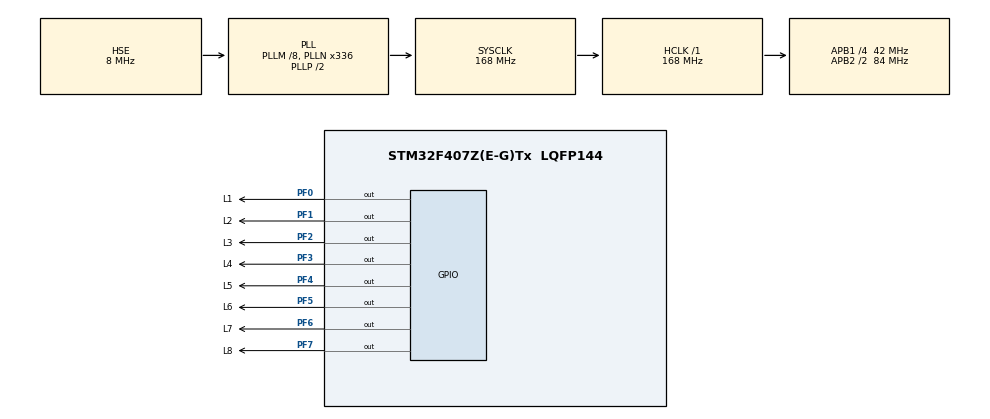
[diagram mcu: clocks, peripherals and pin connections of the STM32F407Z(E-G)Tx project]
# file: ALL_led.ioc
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Mcu.Family=STM32F4
Mcu.Name=STM32F407Z(E-G)Tx
Mcu.Package=LQFP144
NVIC.PriorityGroup=NVIC_PRIORITYGROUP_4
PA13.Mode=Serial_Wire
PA13.Signal=SYS_JTMS-SWDIO
PA14.Mode=Serial_Wire
PA14.Signal=SYS_JTCK-SWCLK
PF0.GPIO_Label=L1
PF0.Signal=GPIO_Output
PF1.GPIO_Label=L2
PF1.Signal=GPIO_Output
PF2.GPIO_Label=L3
PF2.Signal=GPIO_Output
PF3.GPIO_Label=L4
PF3.Signal=GPIO_Output
PF4.GPIO_Label=L5
PF4.Signal=GPIO_Output
PF5.GPIO_Label=L6
PF5.Signal=GPIO_Output
PF6.GPIO_Label=L7
PF6.Signal=GPIO_Output
PF7.GPIO_Label=L8
PF7.Signal=GPIO_Output
PH0-OSC_IN.Mode=HSE-External-Oscillator
PH0-OSC_IN.Signal=RCC_OSC_IN
PH1-OSC_OUT.Mode=HSE-External-Oscillator
PH1-OSC_OUT.Signal=RCC_OSC_OUT
ProjectManager.HeapSize=0x200
ProjectManager.StackSize=0x400
ProjectManager.TargetToolchain=STM32CubeIDE
RCC.48MHZClocksFreq_Value=84000000
RCC.AHBFreq_Value=168000000
RCC.APB1CLKDivider=RCC_HCLK_DIV4
RCC.APB1Freq_Value=42000000
RCC.APB1TimFreq_Value=84000000
RCC.APB2CLKDivider=RCC_HCLK_DIV2
RCC.APB2Freq_Value=84000000
RCC.APB2TimFreq_Value=168000000
RCC.CortexFreq_Value=168000000
RCC.HCLKFreq_Value=168000000
RCC.HSE_VALUE=8000000
RCC.HSI_VALUE=16000000
RCC.LSE_VALUE=32768
RCC.PLLM=8
RCC.PLLN=336
RCC.PLLSourceVirtual=RCC_PLLSOURCE_HSE
RCC.SYSCLKFreq_VALUE=168000000
RCC.SYSCLKSource=RCC_SYSCLKSOURCE_PLLCLK
RCC.VCOOutputFreq_Value=336000000
board=custom

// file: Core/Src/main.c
/* USER CODE BEGIN Header */
/**
  ******************************************************************************
  * @file           : main.c
  * @brief          : Main program body
  ******************************************************************************
  * @attention
  *
  * Copyright (c) 2026 STMicroelectronics.
  * All rights reserved.
  *
  * This software is licensed under terms that can be found in the LICENSE file
  * in the root directory of this software component.
  * If no LICENSE file comes with this software, it is provided AS-IS.
  *
  ******************************************************************************
  */
/* USER CODE END Header */
#include "main.h"
#include "gpio.h"

void SystemClock_Config(void);

int main(void)
{

  /* MCU Configuration--------------------------------------------------------*/

  /* Reset of all peripherals, Initializes the Flash interface and the Systick. */
  HAL_Init();

  /* Configure the system clock */
  SystemClock_Config();

  /* Initialize all configured peripherals */
  MX_GPIO_Init();
  /* USER CODE BEGIN 2 */
  /* USER CODE BEGIN 2 */

  /* USER CODE BEGIN 2 */

  /* USER CODE END 2 */

  /* USER CODE END 2 */

  /* USER CODE END 2 */

  /* Infinite loop */
  /* USER CODE BEGIN WHILE */
  while (1)
  {
	  // 先全部熄灭
	    HAL_GPIO_WritePin(L1_GPIO_Port, L1_Pin, GPIO_PIN_SET);
	    HAL_GPIO_WritePin(L2_GPIO_Port, L2_Pin, GPIO_PIN_SET);
	    HAL_GPIO_WritePin(L3_GPIO_Port, L3_Pin, GPIO_PIN_SET);
	    HAL_GPIO_WritePin(L4_GPIO_Port, L4_Pin, GPIO_PIN_SET);
	    HAL_GPIO_WritePin(L5_GPIO_Port, L5_Pin, GPIO_PIN_SET);
	    HAL_GPIO_WritePin(L6_GPIO_Port, L6_Pin, GPIO_PIN_SET);
	    HAL_GPIO_WritePin(L7_GPIO_Port, L7_Pin, GPIO_PIN_SET);
	    HAL_GPIO_WritePin(L8_GPIO_Port, L8_Pin, GPIO_PIN_SET);

	    // 只亮 L1，延时后熄灭
	    HAL_GPIO_WritePin(L1_GPIO_Port, L1_Pin, GPIO_PIN_RESET);
	    HAL_Delay(500);
	    HAL_GPIO_WritePin(L1_GPIO_Port, L1_Pin, GPIO_PIN_SET);

	    // 只亮 L2
	    HAL_GPIO_WritePin(L2_GPIO_Port, L2_Pin, GPIO_PIN_RESET);
	    HAL_Delay(500);
	    HAL_GPIO_WritePin(L2_GPIO_Port, L2_Pin, GPIO_PIN_SET);

	    // 只亮 L3
	    HAL_GPIO_WritePin(L3_GPIO_Port, L3_Pin, GPIO_PIN_RESET);
	    HAL_Delay(500);
	    HAL_GPIO_WritePin(L3_GPIO_Port, L3_Pin, GPIO_PIN_SET);

	    // 只亮 L4
	    HAL_GPIO_WritePin(L4_GPIO_Port, L4_Pin, GPIO_PIN_RESET);
	    HAL_Delay(500);
	    HAL_GPIO_WritePin(L4_GPIO_Port, L4_Pin, GPIO_PIN_SET);

	    // 只亮 L5
	    HAL_GPIO_WritePin(L5_GPIO_Port, L5_Pin, GPIO_PIN_RESET);
	    HAL_Delay(500);
	    HAL_GPIO_WritePin(L5_GPIO_Port, L5_Pin, GPIO_PIN_SET);

	    // 只亮 L6
	    HAL_GPIO_WritePin(L6_GPIO_Port, L6_Pin, GPIO_PIN_RESET);
	    HAL_Delay(500);
	    HAL_GPIO_WritePin(L6_GPIO_Port, L6_Pin, GPIO_PIN_SET);

	    // 只亮 L7
	    HAL_GPIO_WritePin(L7_GPIO_Port, L7_Pin, GPIO_PIN_RESET);
	    HAL_Delay(500);
	    HAL_GPIO_WritePin(L7_GPIO_Port, L7_Pin, GPIO_PIN_SET);

	    // 只亮 L8
	    HAL_GPIO_WritePin(L8_GPIO_Port, L8_Pin, GPIO_PIN_RESET);
	    HAL_Delay(500);
	    HAL_GPIO_WritePin(L8_GPIO_Port, L8_Pin, GPIO_PIN_SET);
    /* USER CODE END WHILE */

  }
}

void SystemClock_Config(void)
{
  RCC_OscInitTypeDef RCC_OscInitStruct = {0};
  RCC_ClkInitTypeDef RCC_ClkInitStruct = {0};

  /** Configure the main internal regulator output voltage
  */
  __HAL_RCC_PWR_CLK_ENABLE();
  __HAL_PWR_VOLTAGESCALING_CONFIG(PWR_REGULATOR_VOLTAGE_SCALE1);

  /** Initializes the RCC Oscillators according to the specified parameters
  * in the RCC_OscInitTypeDef structure.
  */
  RCC_OscInitStruct.OscillatorType = RCC_OSCILLATORTYPE_HSE;
  RCC_OscInitStruct.HSEState = RCC_HSE_ON;
  RCC_OscInitStruct.PLL.PLLState = RCC_PLL_ON;
  RCC_OscInitStruct.PLL.PLLSource = RCC_PLLSOURCE_HSE;
  RCC_OscInitStruct.PLL.PLLM = 8;
  RCC_OscInitStruct.PLL.PLLN = 336;
  RCC_OscInitStruct.PLL.PLLP = RCC_PLLP_DIV2;
  RCC_OscInitStruct.PLL.PLLQ = 4;
  if (HAL_RCC_OscConfig(&RCC_OscInitStruct) != HAL_OK)
  {
    Error_Handler();
  }

  /** Initializes the CPU, AHB and APB buses clocks
  */
  RCC_ClkInitStruct.ClockType = RCC_CLOCKTYPE_HCLK|RCC_CLOCKTYPE_SYSCLK
                              |RCC_CLOCKTYPE_PCLK1|RCC_CLOCKTYPE_PCLK2;
  RCC_ClkInitStruct.SYSCLKSource = RCC_SYSCLKSOURCE_PLLCLK;
  RCC_ClkInitStruct.AHBCLKDivider = RCC_SYSCLK_DIV1;
  RCC_ClkInitStruct.APB1CLKDivider = RCC_HCLK_DIV4;
  RCC_ClkInitStruct.APB2CLKDivider = RCC_HCLK_DIV2;

  if (HAL_RCC_ClockConfig(&RCC_ClkInitStruct, FLASH_LATENCY_5) != HAL_OK)
  {
    Error_Handler();
  }
}

void Error_Handler(void)
{
  __disable_irq();
  while (1)
  {
  }
}
